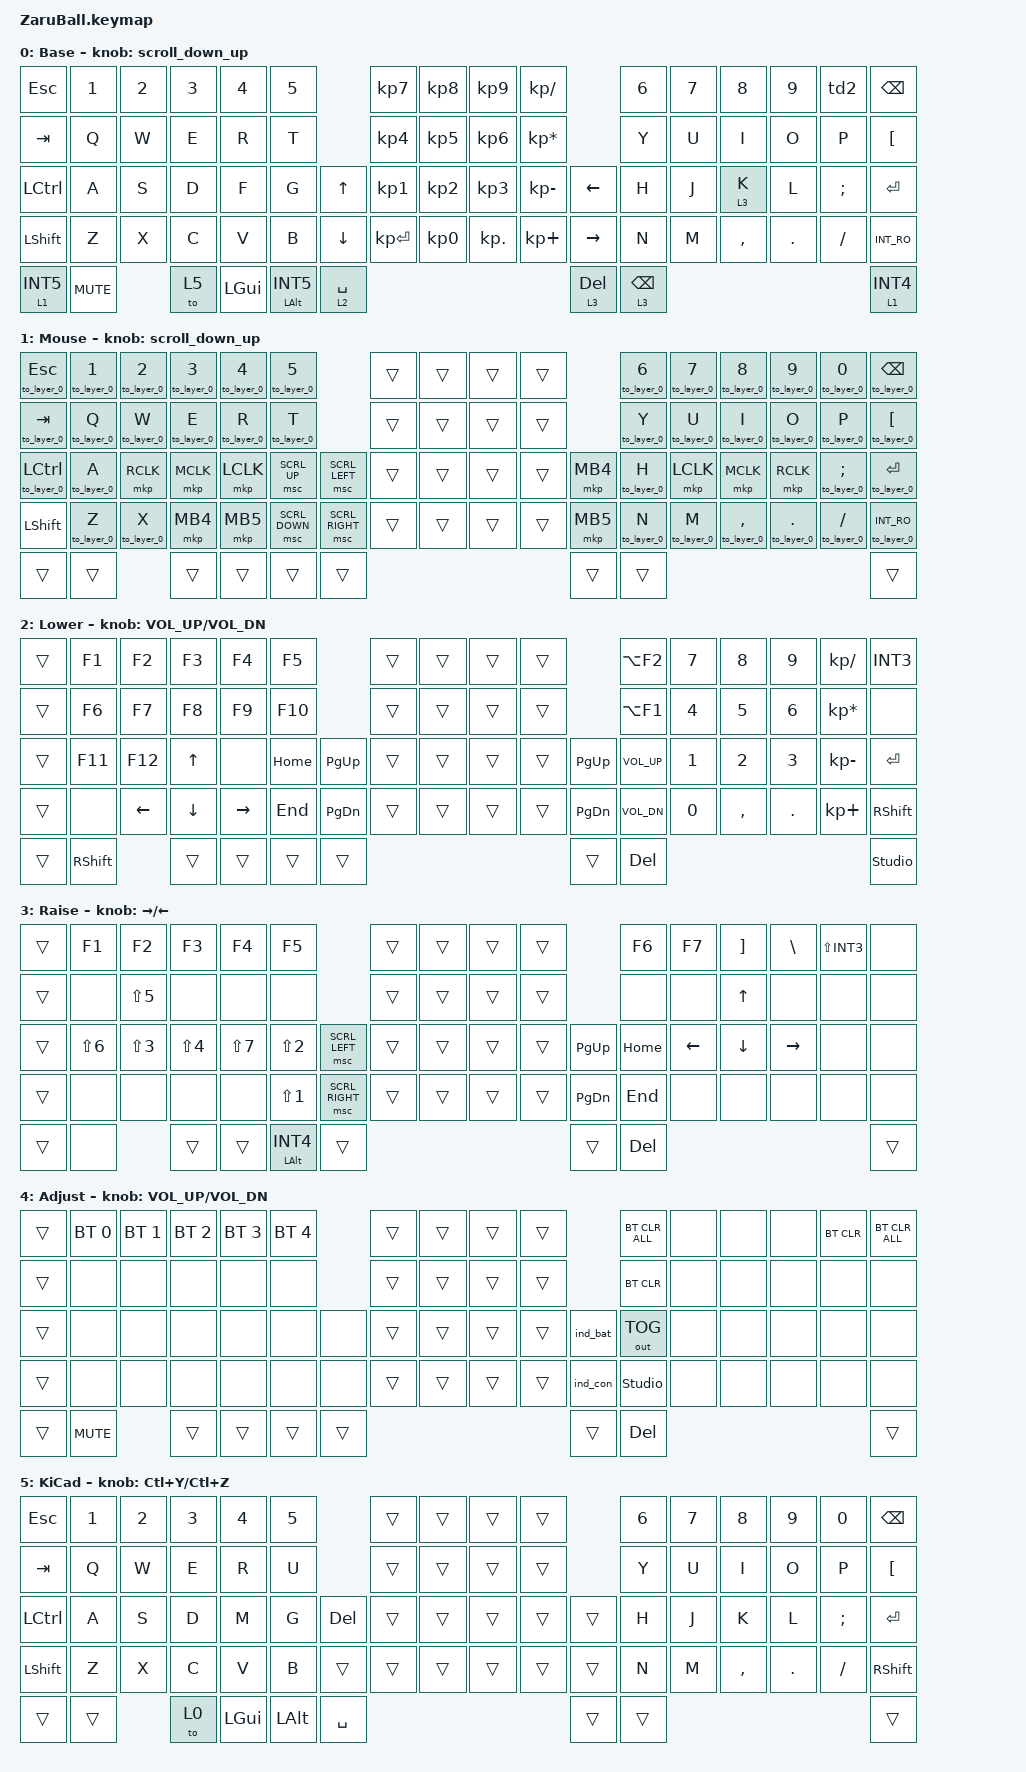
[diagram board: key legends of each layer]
//#include <dt-bindings/zmk/mouse.h>

#include <behaviors/rgbled_widget.dtsi>
#include <behaviors/naginata.dtsi>
#include <behaviors.dtsi>
#include <dt-bindings/zmk/bt.h>
#include <dt-bindings/zmk/keys.h>
#include <dt-bindings/zmk/outputs.h>
#include <dt-bindings/zmk/pointing.h>

#define BASE     0
#define MOUSE    1
#define LOWER    2
#define RAISE    3
#define ADJUST   4
#define SCROLL   2

// スクロール量の設定

#define ZMK_POINTING_DEFAULT_SCRL_VAL 100

/ {
    conditional_layers {
        compatible = "zmk,conditional-layers";

        tri_layer {
            if-layers = <2 3>;
            then-layer = <4>;
        };
    };
};

/ {
    behaviors {
        // スクロール用のbehaviorの設定

        scroll_down_up: behavior_sensor_rotate_mouse_wheel_down_up {
            compatible = "zmk,behavior-sensor-rotate";
            #sensor-binding-cells = <0>;
            bindings = <&msc SCRL_DOWN>, <&msc SCRL_UP>;

            tap-ms = <20>; // スクロールのタップ時間
        };

        td0: tap_dance_0 {
            compatible = "zmk,behavior-tap-dance";
            #binding-cells = <0>;
            tapping-term-ms = <200>;
            bindings = <&mt LALT LANG2>, <&mo 3>, <&mo 1>;
        };

        td1: tap_dance_1 {
            compatible = "zmk,behavior-tap-dance";
            #binding-cells = <0>;
            tapping-term-ms = <200>;
            bindings = <&mt RCTL LANG1>, <&mo 3>, <&mo 1>;
        };

        // Customed Hold-Tap for SandS

        SandS: SandS {
            compatible = "zmk,behavior-hold-tap";
            #binding-cells = <2>;
            flavor = "tap-unless-interrupted";
            tapping-term-ms = <500>;
            quick-tap-ms = <500>;
            bindings = <&kp>, <&kp>;

            display-name = "SandS";
        };

        td2: td2 {
            compatible = "zmk,behavior-tap-dance";
            label = "TD2";
            #binding-cells = <0>;
            bindings = <&kp MINUS>, <&kp N0>;
        };
    };
};

&sl { release-after-ms = <250>; }; // time needed for double click (for mkp_exit_AML)
/ {
    macros {
        // When in AML, move to default layer when key (except mouse button) pressed

        to_layer_0: to_layer_0 {
            compatible = "zmk,behavior-macro-one-param";
            #binding-cells = <1>;
            bindings = <&tog 1 &macro_param_1to1 &kp MACRO_PLACEHOLDER>;
            label = "TO_layer_0";
        };

        // When LCLK pressed, exit AML (after 250ms cause by sticky layer

        mkp_exit_AML: mkp_exit_AML {
            compatible = "zmk,behavior-macro-one-param";
            #binding-cells = <1>;
            bindings =
                <&macro_press>,
                <&macro_param_1to1 &mkp MACRO_PLACEHOLDER>,
                <&macro_pause_for_release>,
                <&macro_release>,
                <&macro_param_1to1 &mkp MACRO_PLACEHOLDER>,
                <&macro_tap>,
                <&sl 1>;

            label = "MKP_EXIT_AML";
        };
    };
};

/ {
    combos {
        compatible = "zmk,combos";

        to_adjust_Layer {
            bindings = <&mo 4>;
            key-positions = <71 70>;
        };

        to_mouselayer {
            bindings = <&mo 3>;
            key-positions = <46 47>;
        };
    };

    keymap {
        compatible = "zmk,keymap";

        base_layer {
            display-name = "Base";
            sensor-bindings = <&scroll_down_up>;
            bindings = <
&kp ESC     &kp N1      &kp N2  &kp N3  &kp N4    &kp N5                        &kp KP_N7     &kp KP_N8  &kp KP_N9   &kp KP_DIVIDE                    &kp NUMBER_6     &kp N7  &kp N8     &kp N9   &td2      &kp BACKSPACE
&kp TAB     &kp Q       &kp W   &kp E   &kp R     &kp T                         &kp KP_N4     &kp KP_N5  &kp KP_N6   &kp KP_MULTIPLY                  &kp Y            &kp U   &kp I      &kp O    &kp P     &kp LBKT
&kp LCTRL   &kp A       &kp S   &kp D   &kp F     &kp G          &kp UP         &kp KP_N1     &kp KP_N2  &kp KP_N3   &kp KP_MINUS       &kp LEFT      &kp H            &kp J   &lt 3 K    &kp L    &kp SEMI  &kp ENTER
&kp LSHFT   &kp Z       &kp X   &kp C   &kp V     &kp B          &kp DOWN       &kp KP_ENTER  &kp KP_N0  &kp KP_DOT  &kp KP_PLUS        &kp RIGHT     &kp N            &kp M   &kp COMMA  &kp DOT  &kp FSLH  &kp INT_RO
&lt 1 INT5  &kp C_MUTE          &to 5   &kp LGUI  &mt LALT INT5  &lt 2 SPACE                                                            &lt 3 DELETE  &lt 3 BACKSPACE                                        &lt 1 INT4
            >;
        };

        mouse_layer {
            display-name = "Mouse";
            sensor-bindings = <&scroll_down_up>;
            bindings = <
&to_layer_0 ESC    &to_layer_0 N1  &to_layer_0 N2  &to_layer_0 N3  &to_layer_0 N4  &to_layer_0 N5                     &trans  &trans  &trans  &trans              &to_layer_0 N6  &to_layer_0 N7  &to_layer_0 N8     &to_layer_0 N9      &to_layer_0 N0    &to_layer_0 BACKSPACE
&to_layer_0 TAB    &to_layer_0 Q   &to_layer_0 W   &to_layer_0 E   &to_layer_0 R   &to_layer_0 T                      &trans  &trans  &trans  &trans              &to_layer_0 Y   &to_layer_0 U   &to_layer_0 I      &to_layer_0 O       &to_layer_0 P     &to_layer_0 LBKT
&to_layer_0 LCTRL  &to_layer_0 A   &mkp RCLK       &mkp MCLK       &mkp LCLK       &msc SCRL_UP    &msc SCRL_LEFT     &trans  &trans  &trans  &trans    &mkp MB4  &to_layer_0 H   &mkp LCLK       &mkp MCLK          &mkp RCLK           &to_layer_0 SEMI  &to_layer_0 ENTER
&kp LSHIFT         &to_layer_0 Z   &to_layer_0 X   &mkp MB4        &mkp MB5        &msc SCRL_DOWN  &msc SCRL_RIGHT    &trans  &trans  &trans  &trans    &mkp MB5  &to_layer_0 N   &to_layer_0 M   &to_layer_0 COMMA  &to_layer_0 PERIOD  &to_layer_0 FSLH  &to_layer_0 INT_RO
&trans             &trans                          &trans          &trans          &trans          &trans                                               &trans    &trans                                                                                   &trans
            >;
        };

        lower_layer {
            display-name = "Lower";
            sensor-bindings = <&inc_dec_kp C_VOL_UP C_VOL_DN>;
            bindings = <
&trans  &kp F1     &kp F2    &kp F3    &kp F4     &kp F5                 &trans  &trans  &trans  &trans               &kp LA(F2)    &kp N7  &kp N8     &kp N9   &kp KP_SLASH     &kp INT3
&trans  &kp F6     &kp F7    &kp F8    &kp F9     &kp F10                &trans  &trans  &trans  &trans               &kp LA(F1)    &kp N4  &kp N5     &kp N6   &kp KP_MULTIPLY  &none
&trans  &kp F11    &kp F12   &kp UP    &none      &kp HOME  &kp PG_UP    &trans  &trans  &trans  &trans    &kp PG_UP  &kp C_VOL_UP  &kp N1  &kp N2     &kp N3   &kp KP_MINUS     &kp ENTER
&trans  &none      &kp LEFT  &kp DOWN  &kp RIGHT  &kp END   &kp PG_DN    &trans  &trans  &trans  &trans    &kp PG_DN  &kp C_VOL_DN  &kp N0  &kp COMMA  &kp DOT  &kp KP_PLUS      &kp RSHFT
&trans  &kp RSHFT            &trans    &trans     &trans    &trans                                         &trans     &kp DEL                                                    &studio_unlock
            >;
        };

        raise_layer {
            display-name = "Raise";
            sensor-bindings = <&inc_dec_kp RIGHT LEFT>;
            bindings = <
&trans  &kp F1      &kp F2      &kp F3      &kp F4            &kp F5                            &trans  &trans  &trans  &trans               &kp F6    &kp F7    &kp RBKT  &kp BSLH   &kp LS(INT3)  &none
&trans  &none       &kp LS(N5)  &none       &none             &none                             &trans  &trans  &trans  &trans               &none     &none     &kp UP    &none      &none         &none
&trans  &kp LS(N6)  &kp LS(N3)  &kp LS(N4)  &kp LS(NUMBER_7)  &kp LS(N2)     &msc SCRL_LEFT     &trans  &trans  &trans  &trans    &kp PG_UP  &kp HOME  &kp LEFT  &kp DOWN  &kp RIGHT  &none         &none
&trans  &none       &none       &none       &none             &kp LS(N1)     &msc SCRL_RIGHT    &trans  &trans  &trans  &trans    &kp PG_DN  &kp END   &none     &none     &none      &none         &none
&trans  &none                   &trans      &trans            &mt LALT INT4  &trans                                               &trans     &kp DEL                                                &trans
            >;
        };

        adjust_layer {
            display-name = "Adjust";
            sensor-bindings = <&inc_dec_kp C_VOL_UP C_VOL_DN>;
            bindings = <
&trans  &bt BT_SEL 0  &bt BT_SEL 1  &bt BT_SEL 2  &bt BT_SEL 3  &bt BT_SEL 4            &trans  &trans  &trans  &trans              &bt BT_CLR_ALL  &none  &none  &none  &bt BT_CLR  &bt BT_CLR_ALL
&trans  &none         &none         &none         &none         &none                   &trans  &trans  &trans  &trans              &bt BT_CLR      &none  &none  &none  &none       &none
&trans  &none         &none         &none         &none         &none         &none     &trans  &trans  &trans  &trans    &ind_bat  &out OUT_TOG    &none  &none  &none  &none       &none
&trans  &none         &none         &none         &none         &none         &none     &trans  &trans  &trans  &trans    &ind_con  &studio_unlock  &none  &none  &none  &none       &none
&trans  &kp C_MUTE                  &trans        &trans        &trans        &trans                                      &trans    &kp DEL                                          &trans
            >;
        };

        // Extra layer can be added in ZMK STUDIO

        layer_5 {
            display-name = "KiCad";
            bindings = <
&kp ESC    &kp N1  &kp N2  &kp N3  &kp N4    &kp N5                 &trans  &trans  &trans  &trans            &kp N6  &kp N7  &kp N8     &kp N9   &kp N0    &kp BSPC
&kp TAB    &kp Q   &kp W   &kp E   &kp R     &kp U                  &trans  &trans  &trans  &trans            &kp Y   &kp U   &kp I      &kp O    &kp P     &kp LBKT
&kp LCTRL  &kp A   &kp S   &kp D   &kp M     &kp G     &kp DEL      &trans  &trans  &trans  &trans    &trans  &kp H   &kp J   &kp K      &kp L    &kp SEMI  &kp ENTER
&kp LSHFT  &kp Z   &kp X   &kp C   &kp V     &kp B     &trans       &trans  &trans  &trans  &trans    &trans  &kp N   &kp M   &kp COMMA  &kp DOT  &kp FSLH  &kp RSHFT
&trans     &trans          &to 0   &kp LGUI  &kp LALT  &kp SPACE                                      &trans  &trans                                        &trans
            >;

            sensor-bindings = <&inc_dec_kp LC(Y) LC(Z)>;
        };
    };
};
